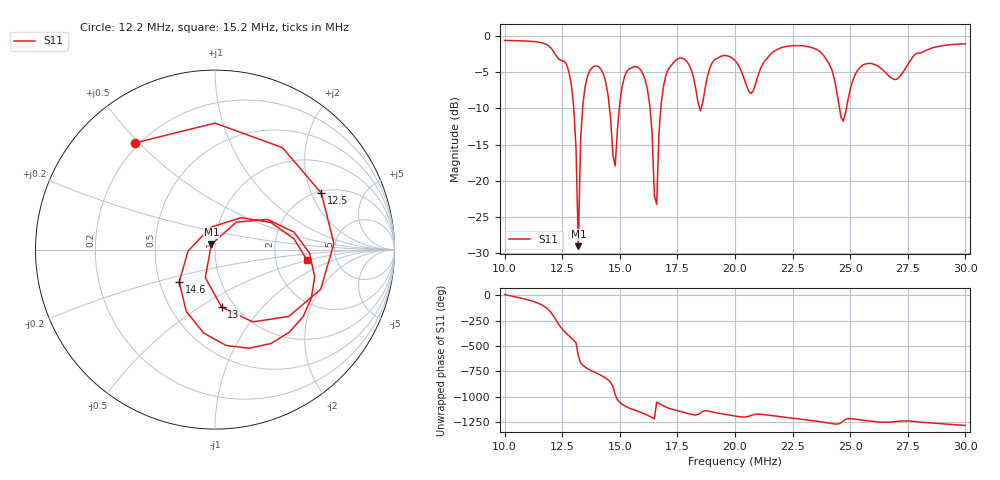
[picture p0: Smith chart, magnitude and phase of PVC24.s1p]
!Keysight Technologies N9916A: A.13.10
!Date: Tuesday, 18 November 2025 17:49:22
!TimeZone: (UTC-06:00) Central Time (US & Canada)!Model: N9916A
!Serial: MY57273160
!GPS Latitude:
!GPS Longitude:
!GPS TimeStamp: 0001-01-01 00:00:00Z
!GPS Seconds Since Last Read: 0
!CHECKSUM:0461043569
!Correction: S11(Rdy)
!S1P File: Measurement: S11:
# Hz S DB R 50
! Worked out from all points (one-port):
!   201 points, 10 MHz to 30 MHz, reference 50 ohm
!   lowest |S11| = -29.0 dB at 13.2 MHz (marker M1), VSWR 1.07, Z = 47.9 + j2.78 ohm
!   |S11| at or under -10 dB: 13 MHz to 13.39 MHz (384.7 kHz wide, 2.92 % of centre); 14.55 MHz to 14.98 MHz (425 kHz wide, 2.88 % of centre); 16.31 MHz to 16.78 MHz (470.7 kHz wide, 2.84 % of centre)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
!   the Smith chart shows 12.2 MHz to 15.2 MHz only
!   S11 on the Smith chart (normalised r, x): 12.2 MHz: 0.18, +0.49; 12.5 MHz: 2.08, +2.38; 13 MHz: 0.87, -0.62; 14.6 MHz: 0.63, -0.24; 15.2 MHz: 3.06, -0.51
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1e7  -0.66 6.8
1.09e7  -0.73 -38.6
1.16e7  -0.96 -93.7
1.2e7  -1.64 -166.8
1.22e7  -2.59 126.7
1.25e7  -3.47 27.9
1.28e7  -5.12 -42.2
1.3e7  -9.80 -83.3
1.32e7  -29.00 125.3
1.33e7  -14.25 52.3
1.36e7  -5.56 -2.1
1.42e7  -4.70 -70.9
1.46e7  -11.42 -138.0
1.48e7  -17.93 101.3
1.5e7  -9.21 25.8
1.52e7  -5.71 -6.7
1.61e7  -6.08 -90.8
1.66e7  -23.23 27.5
1.69e7  -6.90 -9.6
1.75e7  -3.21 -56.8
1.85e7  -10.33 -78.3
2e7  -3.42 -109.7
2.1e7  -5.50 -90.1
2.25e7  -1.38 -130.3
2.43e7  -5.80 172.8
2.5e7  -7.41 -134.5
2.75e7  -3.97 -157.6
3e7  -1.12 157.9
